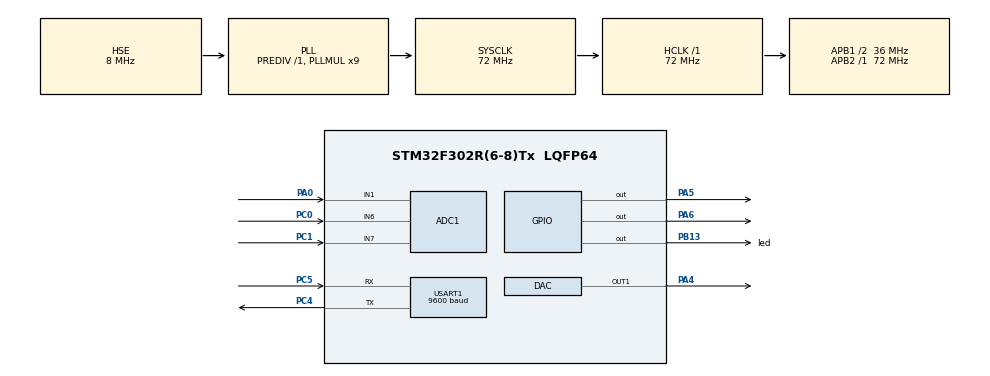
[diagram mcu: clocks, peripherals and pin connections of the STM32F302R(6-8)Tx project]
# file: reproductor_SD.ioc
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ADC1.Channel-0\#ChannelRegularConversion=ADC_CHANNEL_1
ADC1.ContinuousConvMode=ENABLE
ADC1.DMAContinuousRequests=ENABLE
ADC1.NbrOfConversionFlag=1
ADC1.Offset-0\#ChannelRegularConversion=0
ADC1.OffsetNumber-0\#ChannelRegularConversion=ADC_OFFSET_NONE
ADC1.Rank-0\#ChannelRegularConversion=1
ADC1.SamplingTime-0\#ChannelRegularConversion=ADC_SAMPLETIME_601CYCLES_5
ADC1.master=1
DAC.DAC_Trigger=DAC_TRIGGER_T2_TRGO
Dma.ADC1.0.Direction=DMA_PERIPH_TO_MEMORY
Dma.ADC1.0.Instance=DMA1_Channel1
Dma.ADC1.0.MemDataAlignment=DMA_MDATAALIGN_WORD
Dma.ADC1.0.MemInc=DMA_MINC_ENABLE
Dma.ADC1.0.Mode=DMA_CIRCULAR
Dma.ADC1.0.PeriphDataAlignment=DMA_PDATAALIGN_WORD
Dma.ADC1.0.PeriphInc=DMA_PINC_DISABLE
Dma.ADC1.0.Priority=DMA_PRIORITY_LOW
Dma.DAC_CH1.1.Direction=DMA_MEMORY_TO_PERIPH
Dma.DAC_CH1.1.Instance=DMA1_Channel3
Dma.DAC_CH1.1.MemDataAlignment=DMA_MDATAALIGN_WORD
Dma.DAC_CH1.1.MemInc=DMA_MINC_ENABLE
Dma.DAC_CH1.1.Mode=DMA_CIRCULAR
Dma.DAC_CH1.1.PeriphDataAlignment=DMA_PDATAALIGN_WORD
Dma.DAC_CH1.1.PeriphInc=DMA_PINC_DISABLE
Dma.DAC_CH1.1.Priority=DMA_PRIORITY_LOW
Dma.Request0=ADC1
Dma.Request1=DAC_CH1
Dma.Request2=TIM1_UP
Dma.TIM1_UP.2.Direction=DMA_PERIPH_TO_MEMORY
Dma.TIM1_UP.2.Instance=DMA1_Channel5
Dma.TIM1_UP.2.MemDataAlignment=DMA_MDATAALIGN_WORD
Dma.TIM1_UP.2.MemInc=DMA_MINC_ENABLE
Dma.TIM1_UP.2.Mode=DMA_CIRCULAR
Dma.TIM1_UP.2.PeriphDataAlignment=DMA_PDATAALIGN_WORD
Dma.TIM1_UP.2.PeriphInc=DMA_PINC_DISABLE
Dma.TIM1_UP.2.Priority=DMA_PRIORITY_LOW
FREERTOS.Tasks01=SensorHumedad,0,128,Task1,Default,NULL,Dynamic,NULL,NULL;SensorDHT11,0,128,Task0,Default,NULL,Dynamic,NULL,NULL
FREERTOS.configUSE_NEWLIB_REENTRANT=1
Mcu.Family=STM32F3
Mcu.Name=STM32F302R(6-8)Tx
Mcu.Package=LQFP64
NVIC.DMA1_Channel1_IRQn=true\:5\:0\:false\:false\:true\:true\:false\:true\:true
NVIC.DMA1_Channel3_IRQn=true\:5\:0\:false\:false\:true\:true\:false\:true\:true
NVIC.DMA1_Channel5_IRQn=true\:5\:0\:false\:false\:true\:true\:false\:true\:true
NVIC.PriorityGroup=NVIC_PRIORITYGROUP_4
NVIC.TIM1_BRK_TIM15_IRQn=true\:15\:0\:false\:false\:true\:false\:false\:true\:true
NVIC.TIM6_DAC_IRQn=true\:15\:0\:false\:false\:true\:false\:false\:true\:true
NVIC.TimeBase=TIM6_DAC_IRQn
NVIC.TimeBaseIP=TIM6
PA0.Mode=IN1-Single-Ended
PA0.Signal=ADC1_IN1
PA13.GPIO_Label=TMS
PA13.Mode=Serial_Wire
PA13.Signal=SYS_JTMS-SWDIO
PA14.GPIO_Label=TCK
PA14.Mode=Serial_Wire
PA14.Signal=SYS_JTCK-SWCLK
PA4.Signal=COMP_DAC1_group
PA5.Signal=GPIO_Output
PA6.Signal=GPIO_Output
PB13.GPIO_Label=led
PB13.Signal=GPIO_Output
PC0.Signal=ADCx_IN6
PC1.Signal=ADCx_IN7
PC14\ -\ OSC32_IN.Signal=RCC_OSC32_IN
PC15\ -\ OSC32_OUT.Signal=RCC_OSC32_OUT
PC4.Mode=Asynchronous
PC4.Signal=USART1_TX
PC5.Mode=Asynchronous
PC5.Signal=USART1_RX
PF0-OSC_IN.Mode=HSE-External-Oscillator
PF0-OSC_IN.Signal=RCC_OSC_IN
PF1-OSC_OUT.Mode=HSE-External-Oscillator
PF1-OSC_OUT.Signal=RCC_OSC_OUT
ProjectManager.HeapSize=0x200
ProjectManager.StackSize=0x400
ProjectManager.TargetToolchain=STM32CubeIDE
RCC.AHBFreq_Value=72000000
RCC.APB1CLKDivider=RCC_HCLK_DIV2
RCC.APB1Freq_Value=36000000
RCC.APB1TimFreq_Value=72000000
RCC.APB2Freq_Value=72000000
RCC.APB2TimFreq_Value=72000000
RCC.CortexFreq_Value=72000000
RCC.HCLKFreq_Value=72000000
RCC.HSE_VALUE=8000000
RCC.HSI_VALUE=8000000
RCC.LSE_VALUE=32768
RCC.PLLM=8
RCC.PLLMUL=RCC_PLL_MUL9
RCC.PLLN=336
RCC.PLLP=RCC_PLLP_DIV4
RCC.PLLQ=7
RCC.PLLSourceVirtual=RCC_PLLSOURCE_HSE
RCC.SYSCLKFreq_VALUE=72000000
RCC.SYSCLKSourceVirtual=RCC_SYSCLKSOURCE_PLLCLK
RCC.USBFreq_Value=72000000
SH.ADCx_IN6.0=ADC1_IN6,IN6-Single-Ended
SH.ADCx_IN7.0=ADC1_IN7,IN7-Single-Ended
SH.COMP_DAC1_group.0=DAC_OUT1,DAC_OUT1
TIM1.Period=50-1
TIM1.Prescaler=72-1
TIM15.Period=0xffff-1
TIM15.Prescaler=72-1
TIM2.Period=50-1
TIM2.Prescaler=72-1
TIM2.TIM_MasterOutputTrigger=TIM_TRGO_UPDATE
USART1.BaudRate=9600
USART1.VirtualMode-Asynchronous=VM_ASYNC
VP_FREERTOS_VS_CMSIS_V1.Mode=CMSIS_V1
VP_SYS_VS_tim6.Mode=TIM6
VP_TIM15_VS_ClockSourceINT.Mode=Internal
VP_TIM1_VS_ClockSourceINT.Mode=Internal
VP_TIM2_VS_ClockSourceINT.Mode=Internal
board=NUCLEO-F302R8

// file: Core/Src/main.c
/* USER CODE BEGIN Header */
/**
  ******************************************************************************
  * @file           : main.c
  * @brief          : Main program body
  ******************************************************************************
  * @attention
  *
  * Copyright (c) 2023 STMicroelectronics.
  * All rights reserved.
  *
  * This software is licensed under terms that can be found in the LICENSE file
  * in the root directory of this software component.
  * If no LICENSE file comes with this software, it is provided AS-IS.
  *
  ******************************************************************************
  */
/* USER CODE END Header */
#include "main.h"
#include "cmsis_os.h"

/* USER CODE BEGIN Includes */
#include "stdio.h"
#include "string.h"
#include "DFPLAYER_MINI.h"

/* USER CODE END Includes */

/* USER CODE BEGIN PD */
//#define BUFFER_SIZE 1

/* USER CODE END PD */

ADC_HandleTypeDef hadc1;
DMA_HandleTypeDef hdma_adc1;

DAC_HandleTypeDef hdac;
DMA_HandleTypeDef hdma_dac_ch1;

TIM_HandleTypeDef htim1;
TIM_HandleTypeDef htim2;
TIM_HandleTypeDef htim15;
DMA_HandleTypeDef hdma_tim1_up;

UART_HandleTypeDef huart1;

osThreadId SensorHumedadHandle;
osThreadId SensorDHT11Handle;
/* USER CODE BEGIN PV */
;
/* USER CODE END PV */

void SystemClock_Config(void);
static void MX_GPIO_Init(void);
static void MX_DMA_Init(void);
static void MX_ADC1_Init(void);
static void MX_DAC_Init(void);
static void MX_TIM2_Init(void);
static void MX_USART1_UART_Init(void);
static void MX_TIM1_Init(void);
static void MX_TIM15_Init(void);
void Task1(void const * argument);
void Task0(void const * argument);

/* USER CODE BEGIN 0 */

void delay (uint16_t time)
{
  __HAL_TIM_SET_COUNTER(&htim15,0);
  while((__HAL_TIM_GET_COUNTER(&htim15))<time);

}

uint8_t Rh_byte1, Rh_byte2, Temp_byte1, Temp_byte2;
	uint16_t SUM, RH, TEMP;
	float Temperature = 0;
	float Humidity = 0;
	uint8_t Presence = 0;

void Set_Pin_Output (GPIO_TypeDef *GPIOx, uint16_t GPIO_Pin)
{
	GPIO_InitTypeDef GPIO_InitStruct = {0};
	GPIO_InitStruct.Pin = GPIO_Pin;
	GPIO_InitStruct.Mode = GPIO_MODE_OUTPUT_PP;
	GPIO_InitStruct.Speed = GPIO_SPEED_FREQ_LOW;
	HAL_GPIO_Init(GPIOx, &GPIO_InitStruct);

}

void Set_Pin_Input (GPIO_TypeDef *GPIOx, uint16_t GPIO_Pin)
{
	GPIO_InitTypeDef GPIO_InitStruct = {0};
		GPIO_InitStruct.Pin = GPIO_Pin;
		GPIO_InitStruct.Mode = GPIO_MODE_INPUT;
		GPIO_InitStruct.Pull = GPIO_NOPULL;
		HAL_GPIO_Init(GPIOx, &GPIO_InitStruct);
}
#define DHT11_PORT GPIOA
#define DHT11_Pin GPIO_PIN_0
void DHT11_Start (void)
{
	Set_Pin_Output(DHT11_PORT, DHT11_Pin);
	HAL_GPIO_WritePin(DHT11_PORT, DHT11_Pin, 0);
	delay(18000);
	HAL_GPIO_WritePin(DHT11_PORT, DHT11_Pin, 1);
	delay(20);
	Set_Pin_Input(DHT11_PORT, DHT11_Pin);
}

uint8_t DHT11_Check_Response (void)
{
uint8_t Response = 0;
delay (40);
if (!(HAL_GPIO_ReadPin(DHT11_PORT, DHT11_Pin)))
{
	delay(80);
	if ((HAL_GPIO_ReadPin(DHT11_PORT, DHT11_Pin))) Response = 1;
	else Response = -1;
}
while ((HAL_GPIO_ReadPin(DHT11_PORT, DHT11_Pin)));
return Response;
}
uint8_t DHT11_Read (void)
{
	uint8_t i,j;
	for (j=0;j<8;j++)
	{
		while (!(HAL_GPIO_ReadPin(DHT11_PORT, DHT11_Pin)))
		delay (40);
		if (!(HAL_GPIO_ReadPin(DHT11_PORT, DHT11_Pin)))
		{
			i&= ~(1<<(7-j));
		}
		else i|= (1<<(7-j));
		while ((HAL_GPIO_ReadPin(DHT11_PORT, DHT11_Pin)));
	}

}

/* USER CODE END 0 */

int main(void)
{
  /* USER CODE BEGIN 1 */
	//char rxBuffer[BUFFER_SIZE];

  /* USER CODE END 1 */

  /* MCU Configuration--------------------------------------------------------*/

  /* Reset of all peripherals, Initializes the Flash interface and the Systick. */
  HAL_Init();

  /* Configure the system clock */
  SystemClock_Config();

  /* Initialize all configured peripherals */
  MX_GPIO_Init();
  MX_DMA_Init();
  MX_ADC1_Init();
  MX_DAC_Init();
  MX_TIM2_Init();
  MX_USART1_UART_Init();
  MX_TIM1_Init();
  MX_TIM15_Init();
  /* USER CODE BEGIN 2 */
  DF_Init(10);
  DF_PlayFromStart();
  HAL_ADC_Start(&hadc1);
  //HAL_DAC_Start_DMA(&hdac, DAC_CHANNEL_1, &entrada_audio, 1, DAC_ALIGN_12B_R);
  HAL_TIM_Base_Start(&htim2);
  HAL_TIM_Base_Start(&htim15);
  HAL_DAC_Stop(&hdac, DAC_CHANNEL_1);

  /* USER CODE END 2 */

  /* Create the thread(s) */
  /* definition and creation of SensorHumedad */
  osThreadDef(SensorHumedad, Task1, osPriorityNormal, 0, 128);
  SensorHumedadHandle = osThreadCreate(osThread(SensorHumedad), NULL);

  /* definition and creation of SensorDHT11 */
  osThreadDef(SensorDHT11, Task0, osPriorityNormal, 0, 128);
  SensorDHT11Handle = osThreadCreate(osThread(SensorDHT11), NULL);

  /* Start scheduler */
  osKernelStart();
  /* We should never get here as control is now taken by the scheduler */
  /* Infinite loop */
  while (1)
  {

  }
}

void SystemClock_Config(void)
{
  RCC_OscInitTypeDef RCC_OscInitStruct = {0};
  RCC_ClkInitTypeDef RCC_ClkInitStruct = {0};
  RCC_PeriphCLKInitTypeDef PeriphClkInit = {0};

  /** Initializes the RCC Oscillators according to the specified parameters
  * in the RCC_OscInitTypeDef structure.
  */
  RCC_OscInitStruct.OscillatorType = RCC_OSCILLATORTYPE_HSE;
  RCC_OscInitStruct.HSEState = RCC_HSE_ON;
  RCC_OscInitStruct.HSEPredivValue = RCC_HSE_PREDIV_DIV1;
  RCC_OscInitStruct.HSIState = RCC_HSI_ON;
  RCC_OscInitStruct.PLL.PLLState = RCC_PLL_ON;
  RCC_OscInitStruct.PLL.PLLSource = RCC_PLLSOURCE_HSE;
  RCC_OscInitStruct.PLL.PLLMUL = RCC_PLL_MUL9;
  if (HAL_RCC_OscConfig(&RCC_OscInitStruct) != HAL_OK)
  {
    Error_Handler();
  }

  /** Initializes the CPU, AHB and APB buses clocks
  */
  RCC_ClkInitStruct.ClockType = RCC_CLOCKTYPE_HCLK|RCC_CLOCKTYPE_SYSCLK
                              |RCC_CLOCKTYPE_PCLK1|RCC_CLOCKTYPE_PCLK2;
  RCC_ClkInitStruct.SYSCLKSource = RCC_SYSCLKSOURCE_PLLCLK;
  RCC_ClkInitStruct.AHBCLKDivider = RCC_SYSCLK_DIV1;
  RCC_ClkInitStruct.APB1CLKDivider = RCC_HCLK_DIV2;
  RCC_ClkInitStruct.APB2CLKDivider = RCC_HCLK_DIV1;

  if (HAL_RCC_ClockConfig(&RCC_ClkInitStruct, FLASH_LATENCY_2) != HAL_OK)
  {
    Error_Handler();
  }
  PeriphClkInit.PeriphClockSelection = RCC_PERIPHCLK_USART1|RCC_PERIPHCLK_TIM1
                              |RCC_PERIPHCLK_TIM15|RCC_PERIPHCLK_ADC1;
  PeriphClkInit.Usart1ClockSelection = RCC_USART1CLKSOURCE_PCLK1;
  PeriphClkInit.Tim1ClockSelection = RCC_TIM1CLK_HCLK;
  PeriphClkInit.Tim15ClockSelection = RCC_TIM15CLK_HCLK;
  PeriphClkInit.Adc1ClockSelection = RCC_ADC1PLLCLK_DIV1;

  if (HAL_RCCEx_PeriphCLKConfig(&PeriphClkInit) != HAL_OK)
  {
    Error_Handler();
  }
}

static void MX_ADC1_Init(void)
{

  ADC_ChannelConfTypeDef sConfig = {0};

  /** Common config
  */
  hadc1.Instance = ADC1;
  hadc1.Init.ClockPrescaler = ADC_CLOCK_ASYNC_DIV1;
  hadc1.Init.Resolution = ADC_RESOLUTION_12B;
  hadc1.Init.ScanConvMode = ADC_SCAN_DISABLE;
  hadc1.Init.ContinuousConvMode = ENABLE;
  hadc1.Init.DiscontinuousConvMode = DISABLE;
  hadc1.Init.ExternalTrigConvEdge = ADC_EXTERNALTRIGCONVEDGE_NONE;
  hadc1.Init.ExternalTrigConv = ADC_SOFTWARE_START;
  hadc1.Init.DataAlign = ADC_DATAALIGN_RIGHT;
  hadc1.Init.NbrOfConversion = 1;
  hadc1.Init.DMAContinuousRequests = ENABLE;
  hadc1.Init.EOCSelection = ADC_EOC_SINGLE_CONV;
  hadc1.Init.LowPowerAutoWait = DISABLE;
  hadc1.Init.Overrun = ADC_OVR_DATA_OVERWRITTEN;
  if (HAL_ADC_Init(&hadc1) != HAL_OK)
  {
    Error_Handler();
  }

  /** Configure Regular Channel
  */
  sConfig.Channel = ADC_CHANNEL_1;
  sConfig.Rank = ADC_REGULAR_RANK_1;
  sConfig.SingleDiff = ADC_SINGLE_ENDED;
  sConfig.SamplingTime = ADC_SAMPLETIME_601CYCLES_5;
  sConfig.OffsetNumber = ADC_OFFSET_NONE;
  sConfig.Offset = 0;
  if (HAL_ADC_ConfigChannel(&hadc1, &sConfig) != HAL_OK)
  {
    Error_Handler();
  }

}

static void MX_DAC_Init(void)
{

  DAC_ChannelConfTypeDef sConfig = {0};

  /** DAC Initialization
  */
  hdac.Instance = DAC;
  if (HAL_DAC_Init(&hdac) != HAL_OK)
  {
    Error_Handler();
  }

  /** DAC channel OUT1 config
  */
  sConfig.DAC_Trigger = DAC_TRIGGER_T2_TRGO;
  sConfig.DAC_OutputBuffer = DAC_OUTPUTBUFFER_ENABLE;
  if (HAL_DAC_ConfigChannel(&hdac, &sConfig, DAC_CHANNEL_1) != HAL_OK)
  {
    Error_Handler();
  }

}

static void MX_TIM1_Init(void)
{

  TIM_ClockConfigTypeDef sClockSourceConfig = {0};
  TIM_MasterConfigTypeDef sMasterConfig = {0};

  htim1.Instance = TIM1;
  htim1.Init.Prescaler = 72-1;
  htim1.Init.CounterMode = TIM_COUNTERMODE_UP;
  htim1.Init.Period = 50-1;
  htim1.Init.ClockDivision = TIM_CLOCKDIVISION_DIV1;
  htim1.Init.RepetitionCounter = 0;
  htim1.Init.AutoReloadPreload = TIM_AUTORELOAD_PRELOAD_DISABLE;
  if (HAL_TIM_Base_Init(&htim1) != HAL_OK)
  {
    Error_Handler();
  }
  sClockSourceConfig.ClockSource = TIM_CLOCKSOURCE_INTERNAL;
  if (HAL_TIM_ConfigClockSource(&htim1, &sClockSourceConfig) != HAL_OK)
  {
    Error_Handler();
  }
  sMasterConfig.MasterOutputTrigger = TIM_TRGO_RESET;
  sMasterConfig.MasterOutputTrigger2 = TIM_TRGO2_RESET;
  sMasterConfig.MasterSlaveMode = TIM_MASTERSLAVEMODE_DISABLE;
  if (HAL_TIMEx_MasterConfigSynchronization(&htim1, &sMasterConfig) != HAL_OK)
  {
    Error_Handler();
  }

}

static void MX_TIM2_Init(void)
{

  TIM_ClockConfigTypeDef sClockSourceConfig = {0};
  TIM_MasterConfigTypeDef sMasterConfig = {0};

  htim2.Instance = TIM2;
  htim2.Init.Prescaler = 72-1;
  htim2.Init.CounterMode = TIM_COUNTERMODE_UP;
  htim2.Init.Period = 50-1;
  htim2.Init.ClockDivision = TIM_CLOCKDIVISION_DIV1;
  htim2.Init.AutoReloadPreload = TIM_AUTORELOAD_PRELOAD_DISABLE;
  if (HAL_TIM_Base_Init(&htim2) != HAL_OK)
  {
    Error_Handler();
  }
  sClockSourceConfig.ClockSource = TIM_CLOCKSOURCE_INTERNAL;
  if (HAL_TIM_ConfigClockSource(&htim2, &sClockSourceConfig) != HAL_OK)
  {
    Error_Handler();
  }
  sMasterConfig.MasterOutputTrigger = TIM_TRGO_UPDATE;
  sMasterConfig.MasterSlaveMode = TIM_MASTERSLAVEMODE_DISABLE;
  if (HAL_TIMEx_MasterConfigSynchronization(&htim2, &sMasterConfig) != HAL_OK)
  {
    Error_Handler();
  }

}

static void MX_TIM15_Init(void)
{

  TIM_ClockConfigTypeDef sClockSourceConfig = {0};
  TIM_MasterConfigTypeDef sMasterConfig = {0};

  htim15.Instance = TIM15;
  htim15.Init.Prescaler = 72-1;
  htim15.Init.CounterMode = TIM_COUNTERMODE_UP;
  htim15.Init.Period = 0xffff-1;
  htim15.Init.ClockDivision = TIM_CLOCKDIVISION_DIV1;
  htim15.Init.RepetitionCounter = 0;
  htim15.Init.AutoReloadPreload = TIM_AUTORELOAD_PRELOAD_DISABLE;
  if (HAL_TIM_Base_Init(&htim15) != HAL_OK)
  {
    Error_Handler();
  }
  sClockSourceConfig.ClockSource = TIM_CLOCKSOURCE_INTERNAL;
  if (HAL_TIM_ConfigClockSource(&htim15, &sClockSourceConfig) != HAL_OK)
  {
    Error_Handler();
  }
  sMasterConfig.MasterOutputTrigger = TIM_TRGO_RESET;
  sMasterConfig.MasterSlaveMode = TIM_MASTERSLAVEMODE_DISABLE;
  if (HAL_TIMEx_MasterConfigSynchronization(&htim15, &sMasterConfig) != HAL_OK)
  {
    Error_Handler();
  }

}

static void MX_USART1_UART_Init(void)
{

  huart1.Instance = USART1;
  huart1.Init.BaudRate = 9600;
  huart1.Init.WordLength = UART_WORDLENGTH_8B;
  huart1.Init.StopBits = UART_STOPBITS_1;
  huart1.Init.Parity = UART_PARITY_NONE;
  huart1.Init.Mode = UART_MODE_TX_RX;
  huart1.Init.HwFlowCtl = UART_HWCONTROL_NONE;
  huart1.Init.OverSampling = UART_OVERSAMPLING_16;
  huart1.Init.OneBitSampling = UART_ONE_BIT_SAMPLE_DISABLE;
  huart1.AdvancedInit.AdvFeatureInit = UART_ADVFEATURE_NO_INIT;
  if (HAL_UART_Init(&huart1) != HAL_OK)
  {
    Error_Handler();
  }

}

static void MX_DMA_Init(void)
{

  /* DMA controller clock enable */
  __HAL_RCC_DMA1_CLK_ENABLE();

  /* DMA interrupt init */
  /* DMA1_Channel1_IRQn interrupt configuration */
  HAL_NVIC_SetPriority(DMA1_Channel1_IRQn, 5, 0);
  HAL_NVIC_EnableIRQ(DMA1_Channel1_IRQn);
  /* DMA1_Channel3_IRQn interrupt configuration */
  HAL_NVIC_SetPriority(DMA1_Channel3_IRQn, 5, 0);
  HAL_NVIC_EnableIRQ(DMA1_Channel3_IRQn);
  /* DMA1_Channel5_IRQn interrupt configuration */
  HAL_NVIC_SetPriority(DMA1_Channel5_IRQn, 5, 0);
  HAL_NVIC_EnableIRQ(DMA1_Channel5_IRQn);

}

static void MX_GPIO_Init(void)
{
  GPIO_InitTypeDef GPIO_InitStruct = {0};

  /* GPIO Ports Clock Enable */
  __HAL_RCC_GPIOC_CLK_ENABLE();
  __HAL_RCC_GPIOF_CLK_ENABLE();
  __HAL_RCC_GPIOA_CLK_ENABLE();
  __HAL_RCC_GPIOB_CLK_ENABLE();

  /*Configure GPIO pin Output Level */
  HAL_GPIO_WritePin(GPIOA, GPIO_PIN_5|GPIO_PIN_6, GPIO_PIN_RESET);

  /*Configure GPIO pin Output Level */
  HAL_GPIO_WritePin(led_GPIO_Port, led_Pin, GPIO_PIN_RESET);

  /*Configure GPIO pins : PA5 PA6 */
  GPIO_InitStruct.Pin = GPIO_PIN_5|GPIO_PIN_6;
  GPIO_InitStruct.Mode = GPIO_MODE_OUTPUT_PP;
  GPIO_InitStruct.Pull = GPIO_NOPULL;
  GPIO_InitStruct.Speed = GPIO_SPEED_FREQ_LOW;
  HAL_GPIO_Init(GPIOA, &GPIO_InitStruct);

  /*Configure GPIO pin : led_Pin */
  GPIO_InitStruct.Pin = led_Pin;
  GPIO_InitStruct.Mode = GPIO_MODE_OUTPUT_PP;
  GPIO_InitStruct.Pull = GPIO_NOPULL;
  GPIO_InitStruct.Speed = GPIO_SPEED_FREQ_LOW;
  HAL_GPIO_Init(led_GPIO_Port, &GPIO_InitStruct);

}

void Task1(void const * argument)
{
  /* USER CODE BEGIN 5 */
  /* Infinite loop */
  for(;;)
  {
	  DHT11_Start();
	  Presence = DHT11_Check_Response();
	  Rh_byte1 = DHT11_Read();
	  Rh_byte2 = DHT11_Read();
	  Temp_byte1 = DHT11_Read();
	  Temp_byte2 = DHT11_Read();
	  SUM = DHT11_Read();

	  TEMP = Temp_byte1;
	  RH = Rh_byte1;

  }
  /* USER CODE END 5 */
}

void Task0(void const * argument)
{
  /* USER CODE BEGIN Task0 */
  /* Infinite loop */
  for(;;)
  {
	  HAL_GPIO_ReadPin(GPIOA, GPIO_PIN_0);
    osDelay(300);
  }
  /* USER CODE END Task0 */
}

void HAL_TIM_PeriodElapsedCallback(TIM_HandleTypeDef *htim)
{
  if (htim->Instance == TIM6) {
    HAL_IncTick();
  }
}

void Error_Handler(void)
{
  __disable_irq();
  while (1)
  {
  }
}
